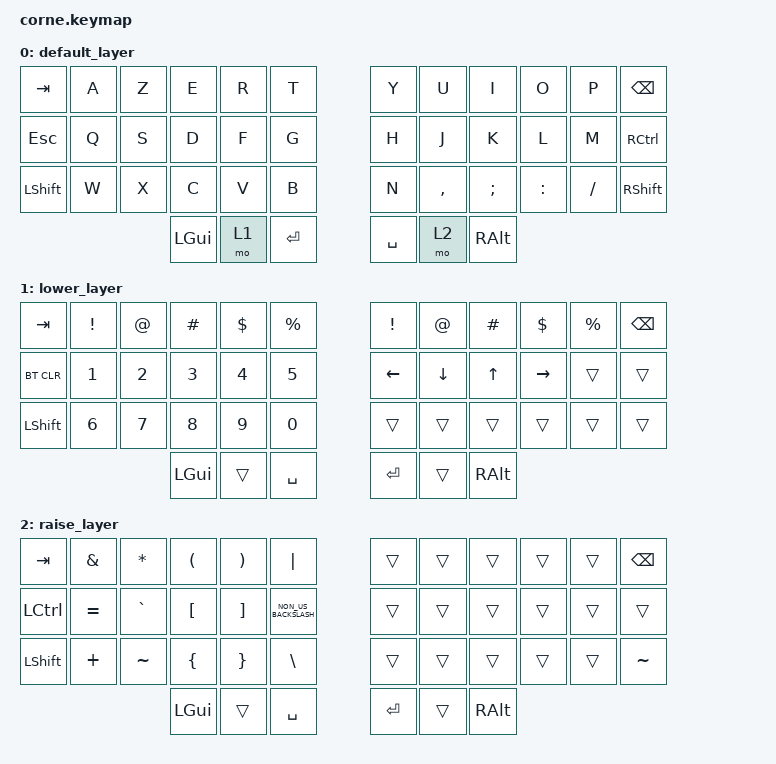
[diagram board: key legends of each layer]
/*
 * Copyright (c) 2020 The ZMK Contributors
 *
 * SPDX-License-Identifier: MIT
 */

#include <behaviors.dtsi>
#include <dt-bindings/zmk/bt.h>
#include <dt-bindings/zmk/keys.h>

/ {
    keymap {
        compatible = "zmk,keymap";

        default_layer {
            // -----------------------------------------------------------------------------------------
            // |  TAB |  A  |  Z  |  E  |  R  |  T  |   |  Y  |  U   |  I  |  O  |  P  | BSPC |
            // | CTRL |  Q  |  S  |  D  |  F  |  G  |   |  H  |  J   |  K  |  L  |  M  |  '   |
            // | SHFT |  W  |  X  |  C  |  V  |  B  |   |  N  |  ,   |  ;  |  .  |  /  | ESC  |
            //                    | GUI | LWR | ENT |   | SPC | RSE  | ALT |

            bindings = <
&kp TAB     &kp A  &kp Z  &kp E     &kp R  &kp T        &kp Y      &kp U      &kp I          &kp O      &kp P     &kp BSPC
&kp ESCAPE  &kp Q  &kp S  &kp D     &kp F  &kp G        &kp H      &kp J      &kp K          &kp L      &kp M     &kp RCTRL
&kp LSHFT   &kp W  &kp X  &kp C     &kp V  &kp B        &kp N      &kp COMMA  &kp SEMICOLON  &kp COLON  &kp FSLH  &kp RIGHT_SHIFT
                          &kp LGUI  &mo 1  &kp ENTER    &kp SPACE  &mo 2      &kp RALT
            >;
        };

        lower_layer {
            // -----------------------------------------------------------------------------------------
            // |  TAB |  1  |  2  |  3  |  4  |  5  |   |  6  |  7  |  8  |  9  |  0  | BSPC |
            // | BTCLR| BT1 | BT2 | BT3 | BT4 | BT5 |   | LFT | DWN |  UP | RGT |     |      |
            // | SHFT |     |     |     |     |     |   |     |     |     |     |     |      |
            //                    | GUI |     | ENT |   | SPC |     | ALT |

            bindings = <
&kp TAB     &kp EXCL      &kp AT        &kp HASH      &kp DOLLAR    &kp PERCENT    &kp EXCLAMATION  &kp AT_SIGN  &kp HASH  &kp DOLLAR  &kp PERCENT  &kp BSPC
&bt BT_CLR  &kp NUMBER_1  &kp NUMBER_2  &kp NUMBER_3  &kp NUMBER_4  &kp N5         &kp LEFT         &kp DOWN     &kp UP    &kp RIGHT   &trans       &trans
&kp LSHFT   &kp NUMBER_6  &kp N7        &kp N8        &kp N9        &kp N0         &trans           &trans       &trans    &trans      &trans       &trans
                                        &kp LGUI      &trans        &kp SPACE      &kp RET          &trans       &kp RALT
            >;
        };

        raise_layer {
            // -----------------------------------------------------------------------------------------
            // |  TAB |  !  |  @  |  #  |  $  |  %  |   |  ^  |  &  |  *  |  (  |  )  | BSPC |
            // | CTRL |     |     |     |     |     |   |  -  |  =  |  [  |  ]  |  \  |  `   |
            // | SHFT |     |     |     |     |     |   |  _  |  +  |  {  |  }  | "|" |  ~   |
            //                    | GUI |     | ENT |   | SPC |     | ALT |

            bindings = <
&kp TAB    &kp AMPERSAND  &kp ASTERISK  &kp LEFT_PARENTHESIS  &kp RIGHT_PARENTHESIS  &kp PIPE                &trans   &trans  &trans    &trans  &trans  &kp BSPC
&kp LCTRL  &kp EQUAL      &kp GRAVE     &kp LEFT_BRACKET      &kp RIGHT_BRACKET      &kp NON_US_BACKSLASH    &trans   &trans  &trans    &trans  &trans  &trans
&kp LSHFT  &kp PLUS       &kp TILDE     &kp LEFT_BRACE        &kp RIGHT_BRACE        &kp BACKSLASH           &trans   &trans  &trans    &trans  &trans  &kp TILDE
                                        &kp LGUI              &trans                 &kp SPACE               &kp RET  &trans  &kp RALT
            >;
        };
    };
};
